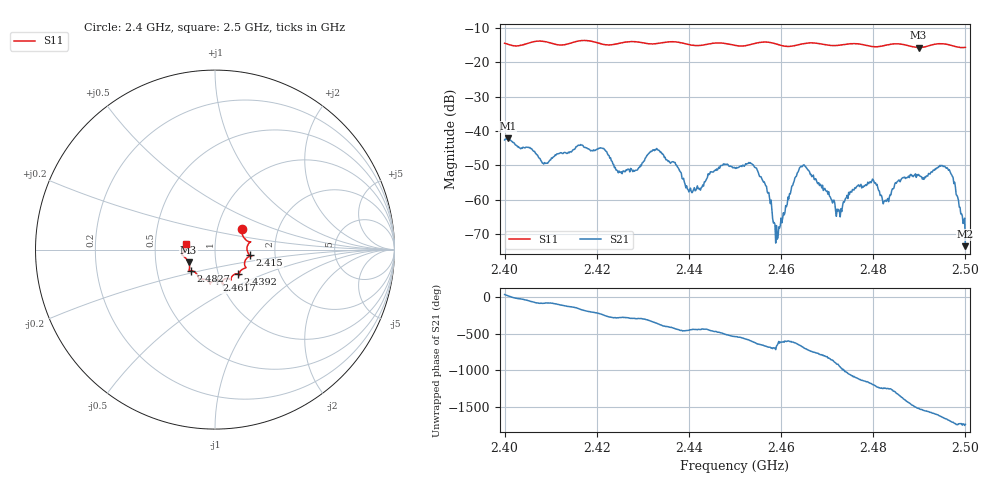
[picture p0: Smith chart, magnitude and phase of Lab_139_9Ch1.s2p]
# Hz S RI R 50
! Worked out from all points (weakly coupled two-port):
!   601 points, 2.4 GHz to 2.5 GHz, reference 50 ohm
!   highest |S21| = -42.18 dB at 2.4007 GHz (marker M1); lowest = -73.5 dB at 2.5 GHz (marker M2)
!   lowest |S11| = -15.7 dB at 2.4898 GHz (marker M3), VSWR 1.39, Z = 36.8 - j5.42 ohm
!   |S11| at or under -10 dB: start of sweep to end of sweep
!   S12 and S22 are empty: the file has one direction only
!   S11 on the Smith chart (normalised r, x): 2.4 GHz: 1.31, +0.31; 2.415 GHz: 1.48, -0.10; 2.4392 GHz: 1.24, -0.35; 2.4617 GHz: 0.96, -0.34; 2.4827 GHz: 0.75, -0.18; 2.5 GHz: 0.72, +0.05
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2.4e9  0.1505 0.1151  0.00647 0.0036  0 0  0 0
2.400667e9  0.1498 0.1059  0.00758 0.00174  0 0  0 0
2.408667e9  0.1965 0.0422  8.08e-05 -0.00347  0 0  0 0
2.415e9  0.1935 -0.0315  -0.00433 -0.00319  0 0  0 0
2.416667e9  0.2037 -0.0384  -0.00623 -0.000378  0 0  0 0
2.425167e9  0.1673 -0.092  0.000536 0.00243  0 0  0 0
2.433333e9  0.1361 -0.1307  0.00519 -0.000841  0 0  0 0
2.439167e9  0.1277 -0.1359  -0.00033 -0.00164  0 0  0 0
2.45e9  0.0714 -0.1611  -0.00289 0.000164  0 0  0 0
2.4545e9  0.0397 -0.1849  -6.75e-05 0.00291  0 0  0 0
2.457e9  0.0445 -0.1914  0.000997 0.000826  0 0  0 0
2.459167e9  0.0374 -0.1789  0.000124 0.000236  0 0  0 0
2.461667e9  0.00838 -0.17  -0.000483 0.000903  0 0  0 0
2.4645e9  -0.0229 -0.1833  0.00213 0.00213  0 0  0 0
2.466667e9  -0.0268 -0.1898  0.00199 -0.000858  0 0  0 0
2.472333e9  -0.0638 -0.1642  -0.000662 0.000179  0 0  0 0
2.479667e9  -0.102 -0.1358  -0.000396 -0.0018  0 0  0 0
2.482667e9  -0.132 -0.1175  -0.000931 -0.000312  0 0  0 0
2.483333e9  -0.1377 -0.1171  -0.000921 -0.000177  0 0  0 0
2.489833e9  -0.1472 -0.0716  0.000581 -0.00226  0 0  0 0
2.4965e9  -0.1785 -0.0196  -0.00141 0.00235  0 0  0 0
2.5e9  -0.1619 0.0317  7.63e-05 0.000197  0 0  0 0
